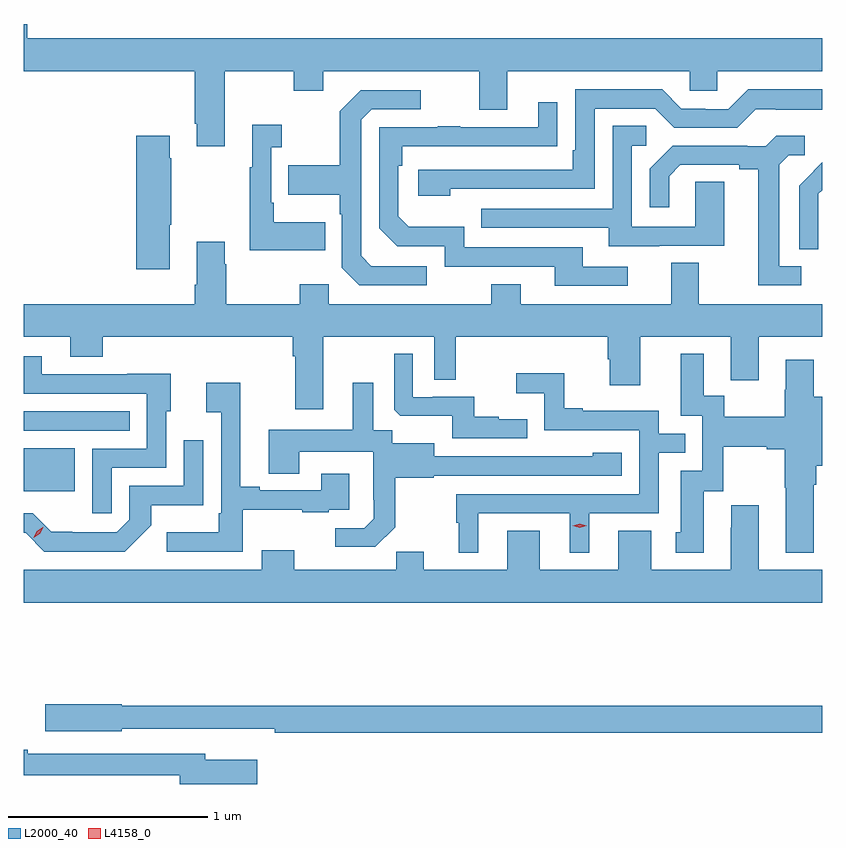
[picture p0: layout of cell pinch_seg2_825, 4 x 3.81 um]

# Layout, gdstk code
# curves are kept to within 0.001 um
import gdstk
lib = gdstk.Library(unit=1e-6, precision=1e-09)
def R(c, l, rs):  # rectangles x0, y0, x1, y1
    for r in rs: c.add(gdstk.rectangle(r[:2], r[2:], *l))
def P(c, l, *ps):  # polygons
    for p in ps: c.add(gdstk.Polygon(p, *l))
L2000_40 = (2000, 40)
L4158_0 = (4158, 0)

pinch_seg2_825 = lib.new_cell('pinch_seg2_825')
R(pinch_seg2_825, L2000_40, [(767.072,586.922,767.326,587.137), (767.072,587.226,767.603,587.322)])
P(pinch_seg2_825, L2000_40, [(768.079,589.028),(768.424,589.028),(768.424,588.929),(768.571,588.929),(768.571,589.028),(769.355,589.028),(769.355,588.834),(769.495,588.834),(769.495,589.028),(770.409,589.028),(770.409,588.93),(770.547,588.93),(770.547,589.028),(771.072,589.028),(771.072,589.192),(767.089,589.192),(767.089,589.264),(767.072,589.264),(767.072,589.028),(767.927,589.028),(767.927,588.763),(767.939,588.763),(767.939,588.651),(768.079,588.651)],
  [(769.208,588.438),(769.932,588.438),(769.932,588.84),(770.235,588.84),(770.331,588.744),(770.646,588.744),(770.739,588.837),(770.839,588.837),(770.839,588.833),(771.072,588.833),(771.072,588.937),(770.701,588.937),(770.601,588.837),(770.486,588.837),(770.486,588.84),(770.367,588.84),(770.271,588.936),(769.836,588.936),(769.836,588.631),(769.823,588.631),(769.823,588.534),(769.047,588.534),(769.047,588.404),(769.208,588.404)],
  [(769.09,588.051),(768.813,588.051),(768.762,588.102),(768.762,588.783),(768.816,588.837),(769.06,588.837),(769.06,588.933),(768.759,588.933),(768.654,588.827),(768.654,588.555),(768.397,588.555),(768.397,588.407),(768.654,588.407),(768.654,588.311),(768.666,588.311),(768.666,588.042),(768.753,587.955),(769.09,587.955)],
  [(770.098,588.048),(769.873,588.048),(769.873,588.144),(769.278,588.144),(769.278,588.247),(769.001,588.247),(768.948,588.3),(768.948,588.554),(768.968,588.554),(768.968,588.651),(769.745,588.652),(769.745,588.871),(769.649,588.871),(769.649,588.747),(769.259,588.747),(769.259,588.752),(769.147,588.752),(769.147,588.747),(768.852,588.747),(768.852,588.24),(768.942,588.15),(769.182,588.15),(769.182,588.048),(769.733,588.048),(769.733,587.952),(770.098,587.952)],
  [(768.581,588.271),(768.325,588.271),(768.325,588.367),(768.312,588.367),(768.312,588.647),(768.364,588.647),(768.364,588.76),(768.215,588.76),(768.215,588.547),(768.204,588.547),(768.204,588.131),(768.581,588.131)],
  [(770.257,588.153),(770.581,588.153),(770.581,588.473),(770.436,588.473),(770.436,588.249),(770.118,588.249),(770.118,588.654),(770.191,588.654),(770.191,588.755),(770.022,588.755),(770.022,588.339),(769.363,588.339),(769.363,588.243),(770.003,588.243),(770.003,588.149),(770.257,588.149)],
  [(770.968,588.051),(770.857,588.051),(770.857,588.559),(770.904,588.606),(770.986,588.606),(770.986,588.703),(770.842,588.703),(770.79,588.651),(770.696,588.651),(770.696,588.654),(770.324,588.654),(770.208,588.538),(770.208,588.345),(770.305,588.345),(770.305,588.501),(770.362,588.558),(770.657,588.558),(770.657,588.536),(770.753,588.536),(770.753,587.955),(770.968,587.955)],
  [(767.803,588.259),(767.811,588.259),(767.811,588.59),(767.803,588.59),(767.803,588.703),(767.636,588.703),(767.636,588.036),(767.803,588.036)],
  [(771.054,588.29),(771.053,588.29),(771.053,588.413),(771.072,588.432),(771.072,588.57),(771.03,588.528),(771.031,588.527),(770.958,588.454),(770.958,588.136),(771.054,588.136)],
  [(768.571,587.696),(769.128,587.696),(769.128,587.482),(769.237,587.482),(769.237,587.696),(769.997,587.696),(769.997,587.583),(770.009,587.583),(770.009,587.454),(770.161,587.454),(770.161,587.696),(770.615,587.696),(770.615,587.478),(770.755,587.478),(770.755,587.696),(771.072,587.696),(771.072,587.86),(770.455,587.86),(770.455,588.068),(770.315,588.068),(770.315,587.86),(769.561,587.86),(769.561,587.959),(769.414,587.959),(769.414,587.86),(768.6,587.86),(768.6,587.959),(768.454,587.959),(768.454,587.86),(768.087,587.86),(768.087,588.059),(768.079,588.059),(768.079,588.172),(767.939,588.172),(767.939,587.956),(767.927,587.956),(767.927,587.86),(767.072,587.86),(767.072,587.696),(767.303,587.696),(767.303,587.597),(767.467,587.597),(767.467,587.696),(768.419,587.696),(768.419,587.6),(768.431,587.6),(768.431,587.334),(768.571,587.334)],
  [(771.031,586.955),(771.044,586.955),(771.044,587.051),(771.072,587.051),(771.072,587.395),(771.031,587.395),(771.031,587.581),(770.891,587.581),(770.891,587.43),(770.884,587.43),(770.884,587.296),(770.581,587.296),(770.581,587.402),(770.479,587.402),(770.479,587.611),(770.363,587.611),(770.363,587.301),(770.472,587.301),(770.472,587.025),(770.363,587.025),(770.363,586.716),(770.339,586.716),(770.339,586.614),(770.479,586.614),(770.479,586.922),(770.577,586.922),(770.577,587.144),(770.795,587.144),(770.795,587.132),(770.884,587.132),(770.884,586.939),(770.891,586.939),(770.891,586.613),(771.031,586.613)],
  [(769.595,587.284),(769.451,587.284),(769.451,587.296),(769.328,587.296),(769.328,587.397),(769.12,587.397),(769.12,587.394),(769.02,587.394),(769.02,587.611),(768.927,587.611),(768.927,587.331),(768.959,587.3),(769.218,587.3),(769.218,587.187),(769.595,587.187)],
  [(767.511,587.04),(767.784,587.04),(767.784,587.322),(767.809,587.322),(767.809,587.51),(767.591,587.51),(767.591,587.508),(767.161,587.508),(767.161,587.599),(767.072,587.599),(767.072,587.412),(767.688,587.412),(767.688,587.136),(767.415,587.136),(767.415,586.812),(767.511,586.812)],
  [(769.348,586.812),(769.808,586.812),(769.808,586.613),(769.906,586.613),(769.906,586.812),(770.253,586.812),(770.253,587.115),(770.387,587.115),(770.387,587.211),(770.253,587.211),(770.253,587.325),(769.873,587.325),(769.873,587.338),(769.779,587.338),(769.779,587.513),(769.539,587.513),(769.539,587.414),(769.68,587.414),(769.68,587.229),(770.157,587.229),(770.157,586.908),(769.239,586.908),(769.239,586.764),(769.25,586.764),(769.25,586.613),(769.348,586.613)],
  [(768.169,586.829),(768.467,586.829),(768.467,586.818),(768.599,586.818),(768.599,586.83),(768.703,586.83),(768.703,587.011),(768.563,587.011),(768.563,586.926),(768.253,586.926),(768.253,586.945),(768.157,586.945),(768.157,587.467),(767.985,587.467),(767.985,587.318),(768.06,587.318),(768.06,586.813),(768.048,586.813),(768.048,586.717),(767.787,586.717),(767.787,586.62),(768.169,586.62)],
  [(768.933,586.743),(768.933,586.989),(769.125,586.989),(769.125,587.001),(770.068,587.001),(770.068,587.116),(769.923,587.116),(769.923,587.098),(769.129,587.097),(769.129,587.164),(768.918,587.164),(768.918,587.228),(768.823,587.228),(768.823,587.467),(768.719,587.467),(768.719,587.23),(768.299,587.23),(768.299,587.011),(768.451,587.011),(768.451,587.12),(768.822,587.12),(768.822,586.879),(768.824,586.879),(768.824,586.784),(768.777,586.737),(768.633,586.737),(768.633,586.643),(768.833,586.643)],
  [(767.709,586.751),(767.709,586.853),(767.97,586.853),(767.97,587.179),(767.874,587.179),(767.874,586.95),(767.601,586.95),(767.601,586.779),(767.538,586.716),(767.314,586.716),(767.314,586.718),(767.21,586.718),(767.115,586.812),(767.072,586.812),(767.072,586.715),(767.081,586.715),(767.175,586.62),(767.578,586.62)],
  [(771.072,586.528),(770.755,586.528),(770.755,586.852),(770.618,586.852),(770.618,586.739),(770.615,586.739),(770.615,586.528),(770.215,586.528),(770.215,586.723),(770.051,586.723),(770.051,586.528),(769.657,586.528),(769.657,586.723),(769.493,586.723),(769.493,586.528),(769.075,586.528),(769.075,586.619),(768.937,586.619),(768.937,586.528),(768.427,586.528),(768.427,586.627),(768.263,586.627),(768.263,586.528),(767.072,586.528),(767.072,586.364),(771.072,586.364)],
  [(771.072,585.848),(767.562,585.848),(767.562,585.854),(767.178,585.854),(767.178,585.719),(767.562,585.719),(767.562,585.732),(768.076,585.732),(768.076,585.731),(768.328,585.731),(768.328,585.712),(771.072,585.712)],
  [(768.241,585.577),(767.98,585.577),(767.98,585.606),(767.09,585.606),(767.09,585.626),(767.072,585.626),(767.072,585.498),(767.852,585.498),(767.852,585.455),(768.241,585.455)])
P(pinch_seg2_825, L4158_0, [(769.857,586.739),(769.822,586.749),(769.821,586.749),(769.822,586.75),(769.857,586.759),(769.892,586.75),(769.892,586.749),(769.892,586.749)],
  [(767.12,586.688),(767.12,586.689),(767.136,586.722),(767.167,586.743),(767.168,586.743),(767.168,586.742),(767.151,586.709),(767.12,586.688)])

lib.write_gds('pinch_seg2_825.gds')
